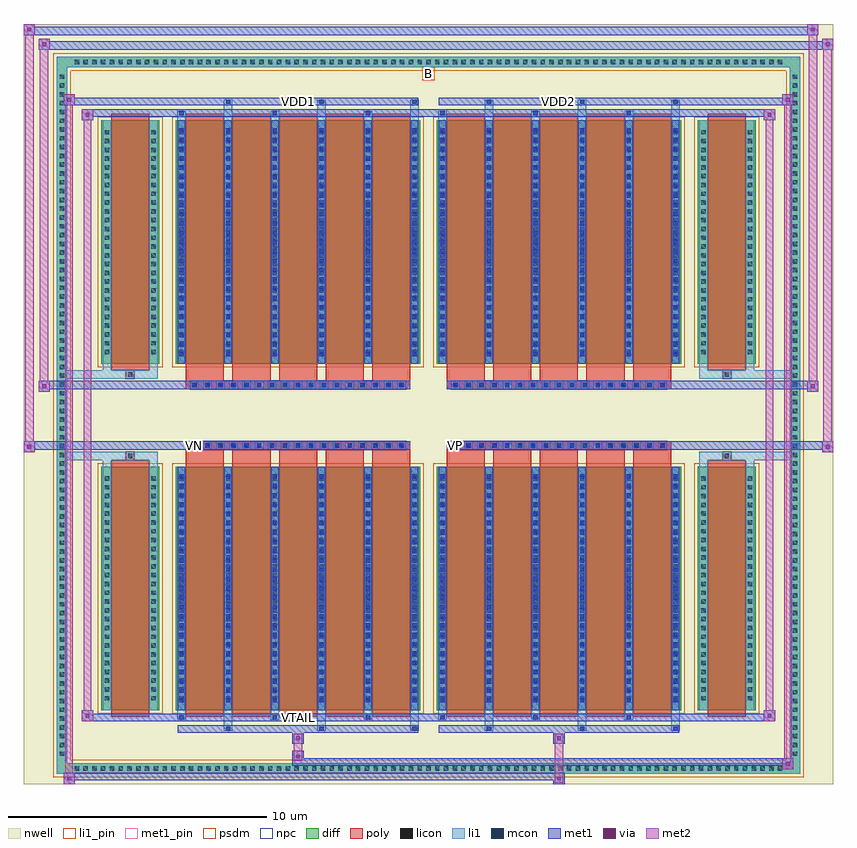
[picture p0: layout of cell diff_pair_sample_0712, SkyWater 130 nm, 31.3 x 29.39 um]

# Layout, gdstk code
import gdstk
lib = gdstk.Library(unit=1e-6, precision=5e-09)
def R(c, l, rs):  # rectangles x0, y0, x1, y1
    for r in rs: c.add(gdstk.rectangle(r[:2], r[2:], *l))
def A(c, l, x, y, w, h, nx, ny, dx, dy):  # array of equal rectangles
    R(c, l, [(x+i*dx, y+j*dy, x+i*dx+w, y+j*dy+h) for i in range(nx) for j in range(ny)])
def P(c, l, *ps):  # polygons
    for p in ps: c.add(gdstk.Polygon(p, *l))
nwell = (64, 20)
diff = (65, 20)
poly = (66, 20)
licon = (66, 44)
li1_pin = (67, 16)
li1 = (67, 20)
mcon = (67, 44)
met1_pin = (68, 16)
met1 = (68, 20)
via = (68, 44)
met2 = (69, 20)
psdm = (94, 20)
npc = (95, 20)

diff_pair_sample_0712 = lib.new_cell('diff_pair_sample_0712')
R(diff_pair_sample_0712, nwell, [(-15.65,-14.26,15.65,15.13), (-12.97,-12.45,-0.01,-0.805), (0.01,-12.45,12.97,-0.805), (-12.97,0.805,-0.01,12.45), (0.01,0.805,12.97,12.45)])
A(diff_pair_sample_0712, diff, -13.805, -13.86, 0.41, 0.41, 81, 2, 0.34, 27.31)
A(diff_pair_sample_0712, diff, -14.38, -13.295, 0.41, 0.41, 1, 78, 0, 0.34)
A(diff_pair_sample_0712, diff, 13.97, -13.295, 0.41, 0.41, 1, 78, 0, 0.34)
R(diff_pair_sample_0712, diff, [(-13.805,-13.86,13.805,-13.45), (-14.38,-13.295,-13.97,13.295), (13.97,-13.295,14.38,13.295), (-12.66,-11.405,-10.41,-1.985), (-9.77,-11.405,-0.32,-1.985), (0.32,-11.405,9.77,-1.985), (10.41,-11.405,12.66,-1.985), (-12.66,1.985,-10.41,11.405), (-9.77,1.985,-0.32,11.405), (0.32,1.985,9.77,11.405), (10.41,1.985,12.66,11.405), (-13.805,13.45,13.805,13.86)])
P(diff_pair_sample_0712, diff, [(14.38,13.86),(-14.38,13.86),(-14.38,-13.45),(-13.97,-13.45),(-13.97,13.45),(13.97,13.45),(13.97,-13.45),(-13.97,-13.45),(-14.38,-13.45),(-14.38,-13.86),(14.38,-13.86)])
A(diff_pair_sample_0712, poly, -9.38, -11.655, 1.47, 9.92, 5, 2, 1.8, 13.39)
A(diff_pair_sample_0712, poly, 0.71, -11.655, 1.47, 9.92, 5, 2, 1.8, 13.39)
A(diff_pair_sample_0712, poly, -9.38, -1.735, 1.47, 0.4, 5, 2, 1.8, 3.07)
A(diff_pair_sample_0712, poly, 0.71, -1.735, 1.47, 0.4, 5, 2, 1.8, 3.07)
A(diff_pair_sample_0712, poly, -9.21, -1.335, 0.33, 0.33, 17, 2, 0.5, 2.34)
A(diff_pair_sample_0712, poly, 0.88, -1.335, 0.33, 0.33, 17, 2, 0.5, 2.34)
R(diff_pair_sample_0712, poly, [(-12.27,-11.655,-10.8,-1.735), (10.8,-11.655,12.27,-1.735), (-11.7,-1.735,-11.37,-1.405), (-11.7,-1.735,-11.37,-1.405), (11.37,-1.735,11.7,-1.405), (11.37,-1.735,11.7,-1.405), (-9.38,-1.335,-0.71,-1.005), (0.71,-1.335,9.38,-1.005), (-9.38,1.005,-0.71,1.335), (0.71,1.005,9.38,1.335), (-11.7,1.405,-11.37,1.735), (-11.7,1.405,-11.37,1.735), (11.37,1.405,11.7,1.735), (11.37,1.405,11.7,1.735), (-12.27,1.735,-10.8,11.655), (10.8,1.735,12.27,11.655)])
A(diff_pair_sample_0712, licon, -13.685, -13.74, 0.17, 0.17, 81, 2, 0.34, 27.31)
A(diff_pair_sample_0712, licon, -14.26, -13.175, 0.17, 0.17, 1, 78, 0, 0.34)
A(diff_pair_sample_0712, licon, 14.09, -13.175, 0.17, 0.17, 1, 78, 0, 0.34)
A(diff_pair_sample_0712, licon, -12.52, -11.03, 0.17, 0.17, 1, 26, 0, 0.34)
A(diff_pair_sample_0712, licon, -10.72, -11.03, 0.17, 0.17, 1, 26, 0, 0.34)
A(diff_pair_sample_0712, licon, -9.63, -11.03, 0.17, 0.17, 6, 26, 1.8, 0.34)
A(diff_pair_sample_0712, licon, 0.46, -11.03, 0.17, 0.17, 6, 26, 1.8, 0.34)
A(diff_pair_sample_0712, licon, 10.55, -11.03, 0.17, 0.17, 1, 26, 0, 0.34)
A(diff_pair_sample_0712, licon, 12.35, -11.03, 0.17, 0.17, 1, 26, 0, 0.34)
A(diff_pair_sample_0712, licon, -9.13, -1.255, 0.17, 0.17, 17, 2, 0.5, 2.34)
A(diff_pair_sample_0712, licon, 0.96, -1.255, 0.17, 0.17, 17, 2, 0.5, 2.34)
A(diff_pair_sample_0712, licon, -12.52, 2.36, 0.17, 0.17, 1, 26, 0, 0.34)
A(diff_pair_sample_0712, licon, -10.72, 2.36, 0.17, 0.17, 1, 26, 0, 0.34)
A(diff_pair_sample_0712, licon, -9.63, 2.36, 0.17, 0.17, 6, 26, 1.8, 0.34)
A(diff_pair_sample_0712, licon, 0.46, 2.36, 0.17, 0.17, 6, 26, 1.8, 0.34)
A(diff_pair_sample_0712, licon, 10.55, 2.36, 0.17, 0.17, 1, 26, 0, 0.34)
A(diff_pair_sample_0712, licon, 12.35, 2.36, 0.17, 0.17, 1, 26, 0, 0.34)
R(diff_pair_sample_0712, licon, [(-11.62,-1.655,-11.45,-1.485), (11.45,-1.655,11.62,-1.485), (-11.62,1.485,-11.45,1.655), (11.45,1.485,11.62,1.655)])
R(diff_pair_sample_0712, li1_pin, [(-0.25,12.95,0.25,13.45)])
A(diff_pair_sample_0712, li1, -13.765, -13.82, 0.33, 0.33, 81, 2, 0.34, 27.31)
A(diff_pair_sample_0712, li1, -14.34, -13.255, 0.33, 0.33, 1, 78, 0, 0.34)
A(diff_pair_sample_0712, li1, 14.01, -13.255, 0.33, 0.33, 1, 78, 0, 0.34)
A(diff_pair_sample_0712, li1, -7.91, -12.21, 0.33, 0.805, 3, 2, 3.6, 23.615)
A(diff_pair_sample_0712, li1, -7.83, -12.21, 0.17, 0.17, 3, 2, 3.6, 24.25)
A(diff_pair_sample_0712, li1, 2.18, -12.21, 0.33, 0.805, 3, 2, 3.6, 23.615)
A(diff_pair_sample_0712, li1, 2.26, -12.21, 0.17, 0.17, 3, 2, 3.6, 24.25)
A(diff_pair_sample_0712, li1, -9.71, -11.78, 0.33, 0.375, 3, 2, 3.6, 23.185)
A(diff_pair_sample_0712, li1, -9.63, -11.78, 0.17, 0.17, 3, 2, 3.6, 23.39)
A(diff_pair_sample_0712, li1, 0.38, -11.78, 0.33, 0.375, 3, 2, 3.6, 23.185)
A(diff_pair_sample_0712, li1, 0.46, -11.78, 0.17, 0.17, 3, 2, 3.6, 23.39)
A(diff_pair_sample_0712, li1, -9.71, -11.405, 0.33, 9.42, 6, 2, 1.8, 13.39)
A(diff_pair_sample_0712, li1, 0.38, -11.405, 0.33, 9.42, 6, 2, 1.8, 13.39)
A(diff_pair_sample_0712, li1, -12.6, -11.11, 0.33, 0.33, 1, 26, 0, 0.34)
A(diff_pair_sample_0712, li1, -10.8, -11.11, 0.33, 0.33, 1, 26, 0, 0.34)
A(diff_pair_sample_0712, li1, -9.71, -11.11, 0.33, 0.33, 6, 26, 1.8, 0.34)
A(diff_pair_sample_0712, li1, 0.38, -11.11, 0.33, 0.33, 6, 26, 1.8, 0.34)
A(diff_pair_sample_0712, li1, 10.47, -11.11, 0.33, 0.33, 1, 26, 0, 0.34)
A(diff_pair_sample_0712, li1, 12.27, -11.11, 0.33, 0.33, 1, 26, 0, 0.34)
A(diff_pair_sample_0712, li1, -9.63, -11.1, 0.17, 0.17, 6, 25, 1.8, 0.36)
A(diff_pair_sample_0712, li1, -9.63, -11.1, 0.17, 8.81, 6, 2, 1.8, 13.39)
A(diff_pair_sample_0712, li1, 0.46, -11.1, 0.17, 0.17, 6, 25, 1.8, 0.36)
A(diff_pair_sample_0712, li1, 0.46, -11.1, 0.17, 8.81, 6, 2, 1.8, 13.39)
A(diff_pair_sample_0712, li1, -9.21, -1.335, 0.33, 0.33, 17, 2, 0.5, 2.34)
A(diff_pair_sample_0712, li1, 0.88, -1.335, 0.33, 0.33, 17, 2, 0.5, 2.34)
A(diff_pair_sample_0712, li1, -12.6, 2.28, 0.33, 0.33, 1, 26, 0, 0.34)
A(diff_pair_sample_0712, li1, -10.8, 2.28, 0.33, 0.33, 1, 26, 0, 0.34)
A(diff_pair_sample_0712, li1, -9.71, 2.28, 0.33, 0.33, 6, 26, 1.8, 0.34)
A(diff_pair_sample_0712, li1, 0.38, 2.28, 0.33, 0.33, 6, 26, 1.8, 0.34)
A(diff_pair_sample_0712, li1, 10.47, 2.28, 0.33, 0.33, 1, 26, 0, 0.34)
A(diff_pair_sample_0712, li1, 12.27, 2.28, 0.33, 0.33, 1, 26, 0, 0.34)
A(diff_pair_sample_0712, li1, -9.63, 2.29, 0.17, 0.17, 6, 25, 1.8, 0.36)
A(diff_pair_sample_0712, li1, 0.46, 2.29, 0.17, 0.17, 6, 25, 1.8, 0.36)
R(diff_pair_sample_0712, li1, [(-14.38,-13.86,-13.97,-13.45), (-14.38,-13.86,-13.97,-13.45), (-13.97,-13.86,13.97,-13.45), (13.97,-13.86,14.38,-13.45), (13.97,-13.86,14.38,-13.45), (-14.38,-13.45,-13.97,13.45), (13.97,-13.45,14.38,13.45), (-12.6,-11.405,-12.27,-1.985), (-10.8,-11.405,-10.47,-1.985), (10.47,-11.405,10.8,-1.985), (12.27,-11.405,12.6,-1.985), (-12.6,-1.985,-12.27,-1.405), (-10.8,-1.985,-10.47,-1.405), (10.47,-1.985,10.8,-1.405), (12.27,-1.985,12.6,-1.405), (-14.38,-1.735,-11.7,-1.405), (-12.6,-1.735,-11.7,-1.405), (-11.7,-1.735,-11.37,-1.405), (-11.37,-1.735,-10.47,-1.405), (10.47,-1.735,11.37,-1.405), (11.37,-1.735,11.7,-1.405), (11.37,-1.735,14.38,-1.405), (11.7,-1.735,12.6,-1.405), (-14.38,1.405,-11.7,1.735), (-12.6,1.405,-11.7,1.735), (-12.6,1.405,-12.27,1.985), (-11.7,1.405,-11.37,1.735), (-11.37,1.405,-10.47,1.735), (-10.8,1.405,-10.47,1.985), (10.47,1.405,11.37,1.735), (10.47,1.405,10.8,1.985), (11.37,1.405,11.7,1.735), (11.37,1.405,14.38,1.735), (11.7,1.405,12.6,1.735), (12.27,1.405,12.6,1.985), (-12.6,1.985,-12.27,11.405), (-10.8,1.985,-10.47,11.405), (10.47,1.985,10.8,11.405), (12.27,1.985,12.6,11.405), (-14.38,13.45,-13.97,13.86), (-14.38,13.45,-13.97,13.86), (-13.97,13.45,13.97,13.86), (13.97,13.45,14.38,13.86), (13.97,13.45,14.38,13.86)])
A(diff_pair_sample_0712, mcon, -7.83, -12.21, 0.17, 0.17, 3, 2, 3.6, 24.25)
A(diff_pair_sample_0712, mcon, 2.26, -12.21, 0.17, 0.17, 3, 2, 3.6, 24.25)
A(diff_pair_sample_0712, mcon, -9.63, -11.78, 0.17, 0.17, 3, 2, 3.6, 23.39)
A(diff_pair_sample_0712, mcon, 0.46, -11.78, 0.17, 0.17, 3, 2, 3.6, 23.39)
A(diff_pair_sample_0712, mcon, -9.63, -11.1, 0.17, 0.17, 6, 25, 1.8, 0.36)
A(diff_pair_sample_0712, mcon, 0.46, -11.1, 0.17, 0.17, 6, 25, 1.8, 0.36)
A(diff_pair_sample_0712, mcon, -9.13, -1.255, 0.17, 0.17, 17, 2, 0.5, 2.34)
A(diff_pair_sample_0712, mcon, 0.96, -1.255, 0.17, 0.17, 17, 2, 0.5, 2.34)
A(diff_pair_sample_0712, mcon, -9.63, 2.29, 0.17, 0.17, 6, 25, 1.8, 0.36)
A(diff_pair_sample_0712, mcon, 0.46, 2.29, 0.17, 0.17, 6, 25, 1.8, 0.36)
R(diff_pair_sample_0712, met1_pin, [(-5.18,-11.82,-4.91,-11.55), (-9.18,-1.295,-8.91,-1.025), (0.91,-1.295,1.18,-1.025), (-5.18,12,-4.91,12.27), (4.91,12,5.18,12.27)])
A(diff_pair_sample_0712, met1, -7.89, -12.27, 0.29, 0.29, 3, 2, 3.6, 24.25)
A(diff_pair_sample_0712, met1, 2.2, -12.27, 0.29, 0.29, 3, 2, 3.6, 24.25)
A(diff_pair_sample_0712, met1, -9.69, -11.84, 0.29, 0.29, 3, 2, 3.6, 23.39)
A(diff_pair_sample_0712, met1, 0.4, -11.84, 0.29, 0.29, 3, 2, 3.6, 23.39)
A(diff_pair_sample_0712, met1, -9.69, -11.405, 0.29, 9.42, 6, 2, 1.8, 13.39)
A(diff_pair_sample_0712, met1, 0.4, -11.405, 0.29, 9.42, 6, 2, 1.8, 13.39)
A(diff_pair_sample_0712, met1, -9.69, -11.16, 0.29, 0.29, 6, 25, 1.8, 0.36)
A(diff_pair_sample_0712, met1, 0.4, -11.16, 0.29, 0.29, 6, 25, 1.8, 0.36)
A(diff_pair_sample_0712, met1, -9.19, -1.315, 0.29, 0.29, 17, 2, 0.5, 2.34)
A(diff_pair_sample_0712, met1, 0.9, -1.315, 0.29, 0.29, 17, 2, 0.5, 2.34)
A(diff_pair_sample_0712, met1, -9.69, 2.23, 0.29, 0.29, 6, 25, 1.8, 0.36)
A(diff_pair_sample_0712, met1, 0.4, 2.23, 0.29, 0.29, 6, 25, 1.8, 0.36)
R(diff_pair_sample_0712, met1, [(-14.11,-14.26,-13.68,-13.83), (4.83,-14.26,5.26,-13.83), (-14.11,-14.12,5.26,-13.83), (13.68,-13.69,14.11,-13.26), (-5.26,-13.55,14.11,-13.26), (-5.26,-13.41,-4.83,-12.98), (-5.26,-12.7,-4.83,-12.27), (4.83,-12.7,5.26,-12.27), (-9.69,-12.27,-0.4,-11.98), (0.4,-12.27,9.69,-11.98), (-13.4,-11.84,-12.97,-11.41), (-13.4,-11.84,-9.69,-11.55), (-9.69,-11.84,-0.4,-11.55), (-0.4,-11.84,0.4,-11.55), (0.4,-11.84,9.69,-11.55), (9.69,-11.84,13.4,-11.55), (12.97,-11.84,13.4,-11.41), (-15.65,-1.435,-15.22,-1.005), (15.22,-1.435,15.65,-1.005), (-15.65,-1.335,-0.71,-1.005), (-9.38,-1.335,-0.71,-1.005), (0.71,-1.335,9.38,-1.005), (0.71,-1.335,15.65,-1.005), (-15.08,0.905,-14.65,1.335), (14.65,0.905,15.08,1.335), (-15.08,1.005,-9.38,1.335), (-9.38,1.005,-0.71,1.335), (0.71,1.005,9.38,1.335), (9.38,1.005,15.08,1.335), (-13.4,11.41,-12.97,11.84), (12.97,11.41,13.4,11.84), (-13.4,11.55,-9.69,11.84), (-9.69,11.55,-0.4,11.84), (-0.4,11.55,0.4,11.84), (0.4,11.55,9.69,11.84), (9.69,11.55,13.4,11.84), (-14.11,11.98,-13.68,12.41), (-14.11,11.98,-9.69,12.27), (-9.69,11.98,-0.4,12.27), (0.4,11.98,9.69,12.27), (9.69,11.98,14.11,12.27), (13.68,11.98,14.11,12.41), (-15.08,14.13,-14.65,14.56), (-15.08,14.13,-12.97,14.46), (-12.97,14.13,12.97,14.46), (12.97,14.13,15.65,14.46), (15.22,14.13,15.65,14.56), (-15.65,14.7,-15.22,15.13), (-15.65,14.7,-12.97,15.03), (-12.97,14.7,12.97,15.03), (12.97,14.7,15.08,15.03), (14.65,14.7,15.08,15.13)])
R(diff_pair_sample_0712, via, [(-13.97,-14.12,-13.82,-13.97), (4.97,-14.12,5.12,-13.97), (13.82,-13.55,13.97,-13.4), (-5.12,-13.27,-4.97,-13.12), (-5.12,-12.56,-4.97,-12.41), (4.97,-12.56,5.12,-12.41), (-13.26,-11.7,-13.11,-11.55), (13.11,-11.7,13.26,-11.55), (-15.51,-1.295,-15.36,-1.145), (15.36,-1.295,15.51,-1.145), (-14.94,1.045,-14.79,1.195), (14.79,1.045,14.94,1.195), (-13.26,11.55,-13.11,11.7), (13.11,11.55,13.26,11.7), (-13.97,12.12,-13.82,12.27), (13.82,12.12,13.97,12.27), (-14.94,14.27,-14.79,14.42), (15.36,14.27,15.51,14.42), (-15.51,14.84,-15.36,14.99), (14.79,14.84,14.94,14.99)])
R(diff_pair_sample_0712, met2, [(-14.11,-14.26,-13.68,-13.83), (-14.04,-14.26,-13.75,12.41), (-13.75,-14.26,-13.68,-13.83), (-14.06,-14.21,-13.73,-13.88), (4.88,-14.21,5.21,-13.88), (4.88,-13.88,5.21,-12.65), (13.68,-13.69,14.11,-13.26), (13.75,-13.69,14.04,12.41), (14.04,-13.69,14.11,-13.26), (13.73,-13.64,14.06,-13.31), (-5.21,-13.36,-4.88,-13.03), (-5.21,-13.03,-4.88,-12.65), (-5.21,-12.65,-4.88,-12.32), (4.88,-12.65,5.21,-12.32), (-13.4,-11.84,-12.97,-11.41), (-13.33,-11.84,-13.04,11.84), (-13.04,-11.84,-12.97,-11.41), (12.97,-11.84,13.4,-11.41), (13.04,-11.84,13.33,11.84), (13.33,-11.84,13.4,-11.41), (-13.35,-11.79,-13.02,-11.46), (13.02,-11.79,13.35,-11.46), (-15.65,-1.435,-15.22,-1.005), (-15.6,-1.435,-15.27,15.13), (-15.27,-1.435,-15.22,-1.005), (15.22,-1.435,15.65,-1.005), (15.27,-1.435,15.6,14.56), (15.6,-1.435,15.65,-1.005), (-15.6,-1.385,-15.27,-1.055), (15.27,-1.385,15.6,-1.055), (-15.08,0.905,-14.65,1.335), (-15.03,0.905,-14.7,14.56), (-14.7,0.905,-14.65,1.335), (14.65,0.905,15.08,1.335), (14.7,0.905,15.03,15.13), (15.03,0.905,15.08,1.335), (-15.03,0.955,-14.7,1.285), (14.7,0.955,15.03,1.285), (-13.4,11.41,-12.97,11.84), (-13.04,11.41,-12.97,11.84), (12.97,11.41,13.4,11.84), (13.33,11.41,13.4,11.84), (-13.35,11.46,-13.02,11.79), (13.02,11.46,13.35,11.79), (-14.11,11.98,-13.68,12.41), (-13.75,11.98,-13.68,12.41), (13.68,11.98,14.11,12.41), (14.04,11.98,14.11,12.41), (-14.06,12.03,-13.73,12.36), (13.73,12.03,14.06,12.36), (-15.08,14.13,-14.65,14.56), (-14.7,14.13,-14.65,14.56), (15.22,14.13,15.65,14.56), (15.6,14.13,15.65,14.56), (-15.03,14.18,-14.7,14.51), (15.27,14.18,15.6,14.51), (-15.65,14.7,-15.22,15.13), (-15.27,14.7,-15.22,15.13), (14.65,14.7,15.08,15.13), (15.03,14.7,15.08,15.13), (-15.6,14.75,-15.27,15.08), (14.7,14.75,15.03,15.08)])
R(diff_pair_sample_0712, psdm, [(-12.79,-11.535,-10.28,-1.855), (-9.9,-11.535,-0.19,-1.855), (0.19,-11.535,9.9,-1.855), (10.28,-11.535,12.79,-1.855), (-12.79,1.855,-10.28,11.535), (-9.9,1.855,-0.19,11.535), (0.19,1.855,9.9,11.535), (10.28,1.855,12.79,11.535)])
P(diff_pair_sample_0712, psdm, [(14.51,13.99),(-14.51,13.99),(-14.51,-13.32),(-13.84,-13.32),(-13.84,13.32),(13.84,13.32),(13.84,-13.32),(-13.84,-13.32),(-14.51,-13.32),(-14.51,-13.99),(14.51,-13.99)])
A(diff_pair_sample_0712, npc, -9.23, -1.355, 0.37, 0.37, 17, 2, 0.5, 2.34)
A(diff_pair_sample_0712, npc, 0.86, -1.355, 0.37, 0.37, 17, 2, 0.5, 2.34)
R(diff_pair_sample_0712, npc, [(-11.72,-1.755,-11.35,-1.385), (11.35,-1.755,11.72,-1.385), (-9.23,-1.355,-8.36,-0.985), (-9.23,-1.355,-8.36,-0.985), (-8.73,-1.355,-7.86,-0.985), (-8.73,-1.355,-7.86,-0.985), (-8.23,-1.355,-7.36,-0.985), (-8.23,-1.355,-7.36,-0.985), (-7.73,-1.355,-6.86,-0.985), (-7.73,-1.355,-6.86,-0.985), (-7.23,-1.355,-6.36,-0.985), (-7.23,-1.355,-6.36,-0.985), (-6.73,-1.355,-5.86,-0.985), (-6.73,-1.355,-5.86,-0.985), (-6.23,-1.355,-5.36,-0.985), (-6.23,-1.355,-5.36,-0.985), (-5.73,-1.355,-4.86,-0.985), (-5.73,-1.355,-4.86,-0.985), (-5.23,-1.355,-4.36,-0.985), (-5.23,-1.355,-4.36,-0.985), (-4.73,-1.355,-3.86,-0.985), (-4.73,-1.355,-3.86,-0.985), (-4.23,-1.355,-3.36,-0.985), (-4.23,-1.355,-3.36,-0.985), (-3.73,-1.355,-2.86,-0.985), (-3.73,-1.355,-2.86,-0.985), (-3.23,-1.355,-2.36,-0.985), (-3.23,-1.355,-2.36,-0.985), (-2.73,-1.355,-1.86,-0.985), (-2.73,-1.355,-1.86,-0.985), (-2.23,-1.355,-1.36,-0.985), (-2.23,-1.355,-1.36,-0.985), (-1.73,-1.355,-0.86,-0.985), (-1.73,-1.355,-0.86,-0.985), (0.86,-1.355,1.73,-0.985), (0.86,-1.355,1.73,-0.985), (1.36,-1.355,2.23,-0.985), (1.36,-1.355,2.23,-0.985), (1.86,-1.355,2.73,-0.985), (1.86,-1.355,2.73,-0.985), (2.36,-1.355,3.23,-0.985), (2.36,-1.355,3.23,-0.985), (2.86,-1.355,3.73,-0.985), (2.86,-1.355,3.73,-0.985), (3.36,-1.355,4.23,-0.985), (3.36,-1.355,4.23,-0.985), (3.86,-1.355,4.73,-0.985), (3.86,-1.355,4.73,-0.985), (4.36,-1.355,5.23,-0.985), (4.36,-1.355,5.23,-0.985), (4.86,-1.355,5.73,-0.985), (4.86,-1.355,5.73,-0.985), (5.36,-1.355,6.23,-0.985), (5.36,-1.355,6.23,-0.985), (5.86,-1.355,6.73,-0.985), (5.86,-1.355,6.73,-0.985), (6.36,-1.355,7.23,-0.985), (6.36,-1.355,7.23,-0.985), (6.86,-1.355,7.73,-0.985), (6.86,-1.355,7.73,-0.985), (7.36,-1.355,8.23,-0.985), (7.36,-1.355,8.23,-0.985), (7.86,-1.355,8.73,-0.985), (7.86,-1.355,8.73,-0.985), (8.36,-1.355,9.23,-0.985), (8.36,-1.355,9.23,-0.985), (-9.23,0.985,-8.36,1.355), (-9.23,0.985,-8.36,1.355), (-8.73,0.985,-7.86,1.355), (-8.73,0.985,-7.86,1.355), (-8.23,0.985,-7.36,1.355), (-8.23,0.985,-7.36,1.355), (-7.73,0.985,-6.86,1.355), (-7.73,0.985,-6.86,1.355), (-7.23,0.985,-6.36,1.355), (-7.23,0.985,-6.36,1.355), (-6.73,0.985,-5.86,1.355), (-6.73,0.985,-5.86,1.355), (-6.23,0.985,-5.36,1.355), (-6.23,0.985,-5.36,1.355), (-5.73,0.985,-4.86,1.355), (-5.73,0.985,-4.86,1.355), (-5.23,0.985,-4.36,1.355), (-5.23,0.985,-4.36,1.355), (-4.73,0.985,-3.86,1.355), (-4.73,0.985,-3.86,1.355), (-4.23,0.985,-3.36,1.355), (-4.23,0.985,-3.36,1.355), (-3.73,0.985,-2.86,1.355), (-3.73,0.985,-2.86,1.355), (-3.23,0.985,-2.36,1.355), (-3.23,0.985,-2.36,1.355), (-2.73,0.985,-1.86,1.355), (-2.73,0.985,-1.86,1.355), (-2.23,0.985,-1.36,1.355), (-2.23,0.985,-1.36,1.355), (-1.73,0.985,-0.86,1.355), (-1.73,0.985,-0.86,1.355), (0.86,0.985,1.73,1.355), (0.86,0.985,1.73,1.355), (1.36,0.985,2.23,1.355), (1.36,0.985,2.23,1.355), (1.86,0.985,2.73,1.355), (1.86,0.985,2.73,1.355), (2.36,0.985,3.23,1.355), (2.36,0.985,3.23,1.355), (2.86,0.985,3.73,1.355), (2.86,0.985,3.73,1.355), (3.36,0.985,4.23,1.355), (3.36,0.985,4.23,1.355), (3.86,0.985,4.73,1.355), (3.86,0.985,4.73,1.355), (4.36,0.985,5.23,1.355), (4.36,0.985,5.23,1.355), (4.86,0.985,5.73,1.355), (4.86,0.985,5.73,1.355), (5.36,0.985,6.23,1.355), (5.36,0.985,6.23,1.355), (5.86,0.985,6.73,1.355), (5.86,0.985,6.73,1.355), (6.36,0.985,7.23,1.355), (6.36,0.985,7.23,1.355), (6.86,0.985,7.73,1.355), (6.86,0.985,7.73,1.355), (7.36,0.985,8.23,1.355), (7.36,0.985,8.23,1.355), (7.86,0.985,8.73,1.355), (7.86,0.985,8.73,1.355), (8.36,0.985,9.23,1.355), (8.36,0.985,9.23,1.355), (-11.72,1.385,-11.35,1.755), (11.35,1.385,11.72,1.755)])
diff_pair_sample_0712.add(gdstk.Label('VTAIL', (-5.045,-11.685), layer=68, texttype=5))
diff_pair_sample_0712.add(gdstk.Label('VN', (-9.045,-1.16), layer=68, texttype=5))
diff_pair_sample_0712.add(gdstk.Label('VP', (1.045,-1.16), layer=68, texttype=5))
diff_pair_sample_0712.add(gdstk.Label('B', (0,13.2), layer=67, texttype=5))
diff_pair_sample_0712.add(gdstk.Label('VDD2', (5.045,12.135), layer=68, texttype=5))
diff_pair_sample_0712.add(gdstk.Label('VDD1', (-5.045,12.135), layer=68, texttype=5))

lib.write_gds('diff_pair_sample_0712.gds')
